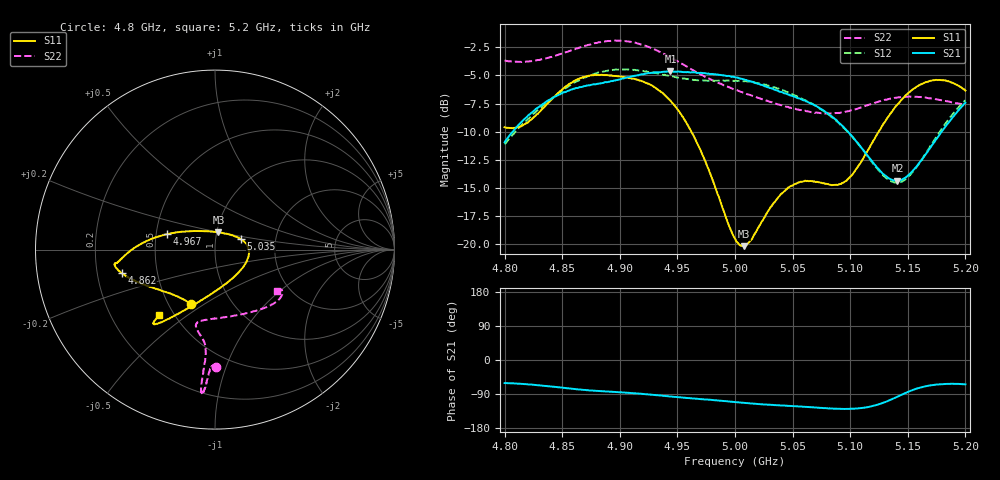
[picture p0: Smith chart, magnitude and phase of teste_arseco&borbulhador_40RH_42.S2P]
! Network Analyzer HP8722D
! Hewlett-Packard
! Data name: Linha & Wilkinson
! Saver's name: Rodrigo Anjos
! Comments: Teste da utilização de aquisição
! continua pelo VNA HP8722D
! Time and date: 15/4/2025 16:42
!  Frequency  S11  S21  S12  S22
# HZ  S  MA R 50
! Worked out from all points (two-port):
!   401 points, 4.8 GHz to 5.2 GHz, reference 50 ohm
!   highest |S21| = -4.65 dB at 4.944 GHz (marker M1); lowest = -14.4 dB at 5.141 GHz (marker M2)
!   |S21| within 3 dB of the highest: 4.832 GHz to 5.069 GHz (237 MHz wide, 4.79 % of centre); 5.198087 GHz to end of sweep
!   lowest |S11| = -20.2 dB at 5.008 GHz (marker M3), VSWR 1.22, Z = 51 + j9.87 ohm
!   |S11| at or under -10 dB: 4.962 GHz to 5.125 GHz (162.7 MHz wide, 3.23 % of centre)
!   |S22| runs from -8.4 to -1.9 dB; largest |S21 - S12| = 0.88
!   S11 on the Smith chart (normalised r, x): 4.8 GHz: 0.65, -0.44; 4.862 GHz: 0.31, -0.11; 4.967 GHz: 0.57, +0.11; 5.035 GHz: 1.32, +0.16; 5.2 GHz: 0.41, -0.39
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4.8e9  0.3308 -113.9  0.2835 -60.8  0.2778 -175.1  0.655 -89.6
4.819e9  0.3454 -133.8  0.3662 -63.8  0.3542 -173.4  0.6493 -91.3
4.839e9  0.4309 -152.1  0.4381 -69.4  0.4369 -173.7  0.6765 -92.5
4.862e9  0.5365 -165.9  0.4948 -76.9  0.5272 -176.7  0.7408 -93.6
4.867e9  0.5499 -167.7  0.4994 -78.5  0.5424 -177.6  0.7546 -93.8
4.9e9  0.5566 -172.3  0.5396 -85.0  0.5956 175.7  0.8027 -95.2
4.934e9  0.483 -178.2  0.5812 -93.4  0.5739 171.8  0.7177 -95.7
4.944e9  0.4338 177.3  0.5858 -96.5  0.5579 172.0  0.6773 -95.5
4.967e9  0.2823 162.3  0.5762 -102.2  0.5355 173.9  0.5805 -95.0
5e9  0.1057 106.4  0.552 -111.1  0.5325 176.3  0.4863 -99.2
5.008e9  0.09773 78.9  0.5403 -113.0  0.5291 176.0  0.4705 -101.2
5.035e9  0.1548 22.1  0.4844 -119.0  0.4962 174.9  0.4218 -103.7
5.048e9  0.1804 8.4  0.4581 -121.2  0.4679 174.6  0.4043 -101.0
5.067e9  0.1903 -11.9  0.4203 -124.7  0.4202 173.8  0.3855 -91.7
5.087e9  0.1831 -44.4  0.3589 -128.5  0.3573 173.7  0.3823 -76.8
5.097e9  0.1915 -65.5  0.3196 -129.1  0.3186 174.4  0.3886 -68.4
5.134e9  0.3747 -116.4  0.1953 -106.3  0.1916 -159.2  0.4425 -43.4
5.141e9  0.4178 -120.3  0.1913 -96.6  0.1875 -148.2  0.4486 -40.2
5.152e9  0.4765 -124.7  0.2058 -81.8  0.2025 -131.0  0.4525 -36.3
5.17e9  0.5324 -128.8  0.2696 -66.8  0.2746 -112.9  0.4447 -32.2
5.184e9  0.5312 -130.1  0.3405 -63.1  0.3511 -107.2  0.4318 -31.2
5.2e9  0.4816 -130.5  0.4249 -64.2  0.436 -106.2  0.4154 -33.5
